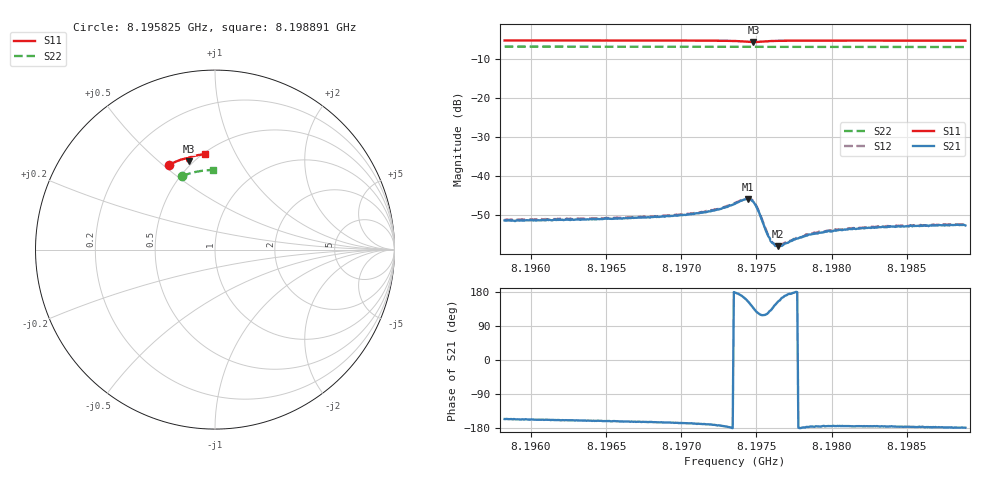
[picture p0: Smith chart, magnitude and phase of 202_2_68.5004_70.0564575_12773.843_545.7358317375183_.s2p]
#  HZ  S  RI  R  50.00
! Rohde & Schwarz Vector Network Analyzer
! Rohde-Schwarz,ZNB20-2Port,1311601062101988,3.16
! Created: UTC 3/20/2024, 5:12:47 PM
! freq[Hz]  re:S11  im:S11  re:S21  im:S21  re:S12  im:S12  re:S22  im:S22
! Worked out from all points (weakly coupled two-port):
!   401 points, 8.195825 GHz to 8.198891 GHz, reference 50 ohm
!   highest |S21| = -45.80 dB at 8.197442 GHz (marker M1); lowest = -57.9 dB at 8.197641 GHz (marker M2)
!   lowest |S11| = -5.8 dB at 8.19748 GHz (marker M3), VSWR 3.10, Z = 23.7 + j31.6 ohm
!   |S11| at or under -10 dB: nowhere
!   |S22| runs from -7.1 to -7.0 dB; largest |S21 - S12| = 0.00028
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8.1958246e9  -0.2587 0.4706  -0.00248 -0.00112  -0.00256 -0.00104  -0.1814 0.4099
8.1963382e9  -0.2257 0.4869  -0.00264 -0.000965  -0.00273 -0.000904  -0.1544 0.4199
8.1968518e9  -0.1909 0.5007  -0.00291 -0.000799  -0.00301 -0.000712  -0.1267 0.4284
8.1971431e9  -0.1689 0.5074  -0.00336 -0.000643  -0.00344 -0.000534  -0.1107 0.4322
8.1972504e9  -0.1594 0.5087  -0.00373 -0.00051  -0.00381 -0.000322  -0.1048 0.4333
8.1973577e9  -0.1478 0.5075  -0.00444 0.000152  -0.00454 0.000336  -0.0988 0.4346
8.1974114e9  -0.1416 0.5025  -0.00483 0.00114  -0.00486 0.00136  -0.0957 0.4349
8.197442e9  -0.1404 0.4972  -0.00467 0.00213  -0.00468 0.00236  -0.094 0.4352
8.1974574e9  -0.1414 0.4942  -0.0043 0.00266  -0.00429 0.00285  -0.0931 0.4353
8.1974804e9  -0.1454 0.4911  -0.00343 0.0032  -0.00333 0.00337  -0.0921 0.4354
8.1974957e9  -0.1488 0.4908  -0.00269 0.00327  -0.00263 0.0034  -0.0914 0.4356
8.197511e9  -0.1517 0.4923  -0.00205 0.00305  -0.00196 0.0032  -0.0905 0.4358
8.1975647e9  -0.1548 0.5013  -0.001 0.00171  -0.00096 0.00182  -0.0878 0.4364
8.1975877e9  -0.1536 0.5045  -0.00102 0.00127  -0.000951 0.00134  -0.0863 0.4368
8.1976107e9  -0.1518 0.5072  -0.00104 0.000922  -0.001 0.000983  -0.0852 0.437
8.1976414e9  -0.149 0.5099  -0.00114 0.000586  -0.00112 0.000633  -0.0834 0.4374
8.1976797e9  -0.1454 0.5123  -0.00129 0.000324  -0.00133 0.000393  -0.0813 0.4377
8.1977717e9  -0.1375 0.5162  -0.0016 2.6e-05  -0.00166 7.58e-05  -0.0761 0.4385
8.1978713e9  -0.1294 0.5187  -0.00182 -0.000139  -0.00186 -6.05e-05  -0.0704 0.4392
8.1980246e9  -0.1178 0.5217  -0.00201 -0.000195  -0.0021 -9.07e-05  -0.0618 0.4403
8.1983849e9  -0.0916 0.527  -0.00224 -0.000193  -0.00228 -5.65e-05  -0.0415 0.442
8.1988909e9  -0.0553 0.5315  -0.00235 -4.91e-05  -0.00242 5.48e-05  -0.0128 0.4429
